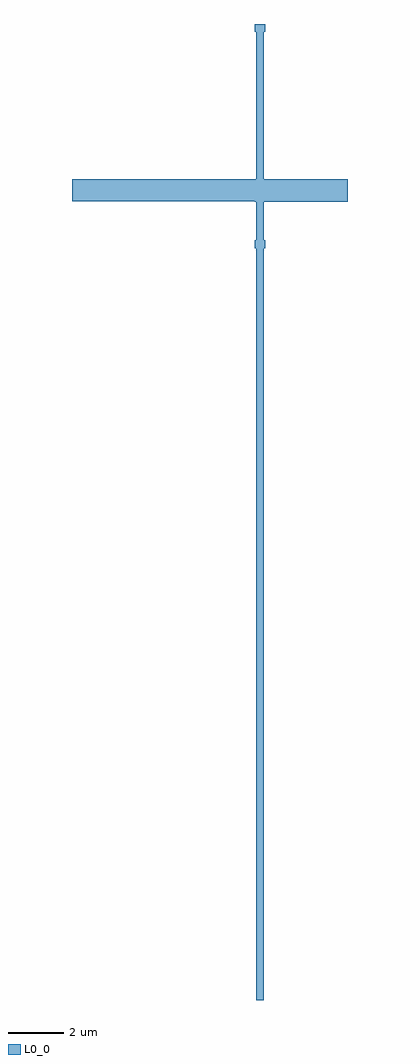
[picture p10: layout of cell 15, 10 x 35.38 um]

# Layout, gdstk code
import gdstk
lib = gdstk.Library(unit=1e-6, precision=1e-09)
def P(c, l, *ps):  # polygons
    for p in ps: c.add(gdstk.Polygon(p, *l))
L0_0 = (0, 0)

c_15 = lib.new_cell('15')
P(c_15, L0_0, [(1200,759.76),(1201.2,759.76),(1201.2,758.96),(1200,758.96),(1200,759.76)],
  [(1210,758.96),(1200.8,758.96),(1200.8,759.76),(1210,759.76),(1210,758.96)],
  [(1201.2,759.76),(1201.2,758.96),(1200.54,758.96),(1200.54,759.76),(1201.2,759.76)],
  [(1200,759.76),(1200.54,759.76),(1200.54,758.96),(1200,758.96),(1200,759.76)],
  [(1200,759.76),(1201.2,759.76),(1201.2,758.96),(1200,758.96),(1200,759.76)],
  [(1200,759.76),(1201.2,759.76),(1201.2,758.96),(1200,758.96),(1200,759.76)],
  [(1201.2,759.76),(1201.2,758.96),(1200.54,758.96),(1200.54,759.76),(1201.2,759.76)],
  [(1210,758.96),(1200.8,758.96),(1200.8,759.76),(1210,759.76),(1210,758.96)],
  [(1200,759.76),(1200.54,759.76),(1200.54,758.96),(1200,758.96),(1200,759.76)],
  [(1206.67,730),(1206.67,765.38),(1206.95,765.38),(1206.95,730),(1206.67,730)],
  [(1206.62,765.38),(1207,765.38),(1207,765.1),(1206.62,765.1),(1206.62,765.38)],
  [(1206.67,757.26),(1206.67,759.22),(1206.95,759.22),(1206.95,757.26),(1206.67,757.26)],
  [(1206.62,757.54),(1207,757.54),(1207,757.26),(1206.62,757.26),(1206.62,757.54)],
  [(1206.62,759.22),(1207,759.22),(1207,758.94),(1206.62,758.94),(1206.62,759.22)],
  [(1210,758.94),(1206.67,758.94),(1206.67,759.22),(1210,759.22),(1210,758.94)],
  [(1206.62,759.22),(1207,759.22),(1207,758.94),(1206.62,758.94),(1206.62,759.22)])

lib.write_gds('15.gds')
